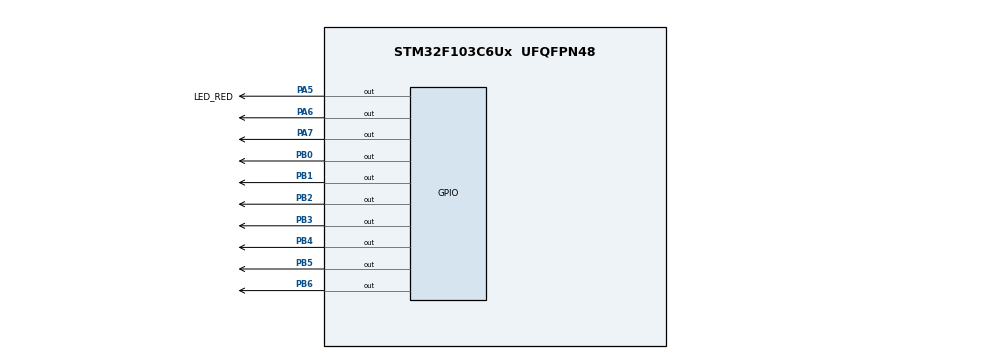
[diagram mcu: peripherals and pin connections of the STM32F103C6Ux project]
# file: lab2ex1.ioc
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Mcu.Family=STM32F1
Mcu.Name=STM32F103C6Ux
Mcu.Package=UFQFPN48
NVIC.PriorityGroup=NVIC_PRIORITYGROUP_4
NVIC.TIM2_IRQn=true\:0\:0\:false\:false\:true\:true\:true
PA5.GPIO_Label=LED_RED
PA5.Signal=GPIO_Output
PA6.Signal=GPIO_Output
PA7.Signal=GPIO_Output
PB0.Signal=GPIO_Output
PB1.Signal=GPIO_Output
PB2.Signal=GPIO_Output
PB3.Signal=GPIO_Output
PB4.Signal=GPIO_Output
PB5.Signal=GPIO_Output
PB6.Signal=GPIO_Output
ProjectManager.HeapSize=0x200
ProjectManager.StackSize=0x400
ProjectManager.TargetToolchain=STM32CubeIDE
RCC.APB1Freq_Value=8000000
RCC.APB2Freq_Value=8000000
TIM2.Period=9
TIM2.Prescaler=7999
VP_SYS_VS_ND.Mode=No_Debug
VP_TIM2_VS_ClockSourceINT.Mode=Internal
board=custom

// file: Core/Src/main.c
/* USER CODE BEGIN Header */
/**
  ******************************************************************************
  * @file           : main.c
  * @brief          : Main program body
  ******************************************************************************
  * @attention
  *
  * <h2><center>&copy; Copyright (c) 2026 STMicroelectronics.
  * All rights reserved.</center></h2>
  *
  * This software component is licensed by ST under BSD 3-Clause license,
  * the "License"; You may not use this file except in compliance with the
  * License. You may obtain a copy of the License at:
  *                        opensource.org/licenses/BSD-3-Clause
  *
  ******************************************************************************
  */
/* USER CODE END Header */
#include "main.h"

TIM_HandleTypeDef htim2;

void SystemClock_Config(void);
static void MX_GPIO_Init(void);
static void MX_TIM2_Init(void);

/* USER CODE BEGIN 0 */
void display7SEG(int num) {
    GPIO_PinState a = GPIO_PIN_SET;
    GPIO_PinState b = GPIO_PIN_SET;
    GPIO_PinState c = GPIO_PIN_SET;
    GPIO_PinState d = GPIO_PIN_SET;
    GPIO_PinState e = GPIO_PIN_SET;
    GPIO_PinState f = GPIO_PIN_SET;
    GPIO_PinState g = GPIO_PIN_SET;

    switch (num) {
        case 0: a=0; b=0; c=0; d=0; e=0; f=0;      break;
        case 1:      b=0; c=0;                     break;
        case 2: a=0; b=0;      d=0; e=0;      g=0; break;
        case 3: a=0; b=0; c=0; d=0;           g=0; break;
        case 4:      b=0; c=0;           f=0; g=0; break;
        case 5: a=0;      c=0; d=0;      f=0; g=0; break;
        case 6: a=0;      c=0; d=0; e=0; f=0; g=0; break;
        case 7: a=0; b=0; c=0;                     break;
        case 8: a=0; b=0; c=0; d=0; e=0; f=0; g=0; break;
        case 9: a=0; b=0; c=0; d=0;      f=0; g=0; break;
    }

    HAL_GPIO_WritePin(GPIOB, GPIO_PIN_0, a);
    HAL_GPIO_WritePin(GPIOB, GPIO_PIN_1, b);
    HAL_GPIO_WritePin(GPIOB, GPIO_PIN_2, c);
    HAL_GPIO_WritePin(GPIOB, GPIO_PIN_3, d);
    HAL_GPIO_WritePin(GPIOB, GPIO_PIN_4, e);
    HAL_GPIO_WritePin(GPIOB, GPIO_PIN_5, f);
    HAL_GPIO_WritePin(GPIOB, GPIO_PIN_6, g);
}
/* USER CODE END 0 */

int main(void)
{

  /* MCU Configuration--------------------------------------------------------*/

  /* Reset of all peripherals, Initializes the Flash interface and the Systick. */
  HAL_Init();

  /* Configure the system clock */
  SystemClock_Config();

  /* Initialize all configured peripherals */
  MX_GPIO_Init();
  MX_TIM2_Init();
  /* USER CODE BEGIN 2 */
HAL_TIM_Base_Start_IT(&htim2);
  /* USER CODE END 2 */

  /* Infinite loop */
  while (1)
  {

  }
}

void SystemClock_Config(void)
{
  RCC_OscInitTypeDef RCC_OscInitStruct = {0};
  RCC_ClkInitTypeDef RCC_ClkInitStruct = {0};

  /** Initializes the RCC Oscillators according to the specified parameters
  * in the RCC_OscInitTypeDef structure.
  */
  RCC_OscInitStruct.OscillatorType = RCC_OSCILLATORTYPE_HSI;
  RCC_OscInitStruct.HSIState = RCC_HSI_ON;
  RCC_OscInitStruct.HSICalibrationValue = RCC_HSICALIBRATION_DEFAULT;
  RCC_OscInitStruct.PLL.PLLState = RCC_PLL_NONE;
  if (HAL_RCC_OscConfig(&RCC_OscInitStruct) != HAL_OK)
  {
    Error_Handler();
  }
  /** Initializes the CPU, AHB and APB buses clocks
  */
  RCC_ClkInitStruct.ClockType = RCC_CLOCKTYPE_HCLK|RCC_CLOCKTYPE_SYSCLK
                              |RCC_CLOCKTYPE_PCLK1|RCC_CLOCKTYPE_PCLK2;
  RCC_ClkInitStruct.SYSCLKSource = RCC_SYSCLKSOURCE_HSI;
  RCC_ClkInitStruct.AHBCLKDivider = RCC_SYSCLK_DIV1;
  RCC_ClkInitStruct.APB1CLKDivider = RCC_HCLK_DIV1;
  RCC_ClkInitStruct.APB2CLKDivider = RCC_HCLK_DIV1;

  if (HAL_RCC_ClockConfig(&RCC_ClkInitStruct, FLASH_LATENCY_0) != HAL_OK)
  {
    Error_Handler();
  }
}

static void MX_TIM2_Init(void)
{

  TIM_ClockConfigTypeDef sClockSourceConfig = {0};
  TIM_MasterConfigTypeDef sMasterConfig = {0};

  htim2.Instance = TIM2;
  htim2.Init.Prescaler = 7999;
  htim2.Init.CounterMode = TIM_COUNTERMODE_UP;
  htim2.Init.Period = 9;
  htim2.Init.ClockDivision = TIM_CLOCKDIVISION_DIV1;
  htim2.Init.AutoReloadPreload = TIM_AUTORELOAD_PRELOAD_DISABLE;
  if (HAL_TIM_Base_Init(&htim2) != HAL_OK)
  {
    Error_Handler();
  }
  sClockSourceConfig.ClockSource = TIM_CLOCKSOURCE_INTERNAL;
  if (HAL_TIM_ConfigClockSource(&htim2, &sClockSourceConfig) != HAL_OK)
  {
    Error_Handler();
  }
  sMasterConfig.MasterOutputTrigger = TIM_TRGO_RESET;
  sMasterConfig.MasterSlaveMode = TIM_MASTERSLAVEMODE_DISABLE;
  if (HAL_TIMEx_MasterConfigSynchronization(&htim2, &sMasterConfig) != HAL_OK)
  {
    Error_Handler();
  }

}

static void MX_GPIO_Init(void)
{
  GPIO_InitTypeDef GPIO_InitStruct = {0};

  /* GPIO Ports Clock Enable */
  __HAL_RCC_GPIOA_CLK_ENABLE();
  __HAL_RCC_GPIOB_CLK_ENABLE();

  /*Configure GPIO pin Output Level */
  HAL_GPIO_WritePin(GPIOA, LED_RED_Pin|GPIO_PIN_6|GPIO_PIN_7, GPIO_PIN_RESET);

  /*Configure GPIO pin Output Level */
  HAL_GPIO_WritePin(GPIOB, GPIO_PIN_0|GPIO_PIN_1|GPIO_PIN_2|GPIO_PIN_3
                          |GPIO_PIN_4|GPIO_PIN_5|GPIO_PIN_6, GPIO_PIN_RESET);

  /*Configure GPIO pins : LED_RED_Pin PA6 PA7 */
  GPIO_InitStruct.Pin = LED_RED_Pin|GPIO_PIN_6|GPIO_PIN_7;
  GPIO_InitStruct.Mode = GPIO_MODE_OUTPUT_PP;
  GPIO_InitStruct.Pull = GPIO_NOPULL;
  GPIO_InitStruct.Speed = GPIO_SPEED_FREQ_LOW;
  HAL_GPIO_Init(GPIOA, &GPIO_InitStruct);

  /*Configure GPIO pins : PB0 PB1 PB2 PB3
                           PB4 PB5 PB6 */
  GPIO_InitStruct.Pin = GPIO_PIN_0|GPIO_PIN_1|GPIO_PIN_2|GPIO_PIN_3
                          |GPIO_PIN_4|GPIO_PIN_5|GPIO_PIN_6;
  GPIO_InitStruct.Mode = GPIO_MODE_OUTPUT_PP;
  GPIO_InitStruct.Pull = GPIO_NOPULL;
  GPIO_InitStruct.Speed = GPIO_SPEED_FREQ_LOW;
  HAL_GPIO_Init(GPIOB, &GPIO_InitStruct);

}

/* USER CODE BEGIN 4 */
int counter = 0;
int led_index = 0;

void HAL_TIM_PeriodElapsedCallback(TIM_HandleTypeDef *htim)
{
    counter--;

    if (counter <= 0)
    {
        counter = 50;

        if (led_index == 0)
        {
            HAL_GPIO_WritePin(GPIOA, GPIO_PIN_6, GPIO_PIN_RESET);
            HAL_GPIO_WritePin(GPIOA, GPIO_PIN_7, GPIO_PIN_SET);

            display7SEG(1);

            led_index = 1;
        }
        else
        {
            HAL_GPIO_WritePin(GPIOA, GPIO_PIN_6, GPIO_PIN_SET);
            HAL_GPIO_WritePin(GPIOA, GPIO_PIN_7, GPIO_PIN_RESET);

            display7SEG(2);

            led_index = 0;
        }
    }
}
/* USER CODE END 4 */

void Error_Handler(void)
{
  __disable_irq();
  while (1)
  {
  }
}

/************************ (C) COPYRIGHT STMicroelectronics *****END OF FILE****/
